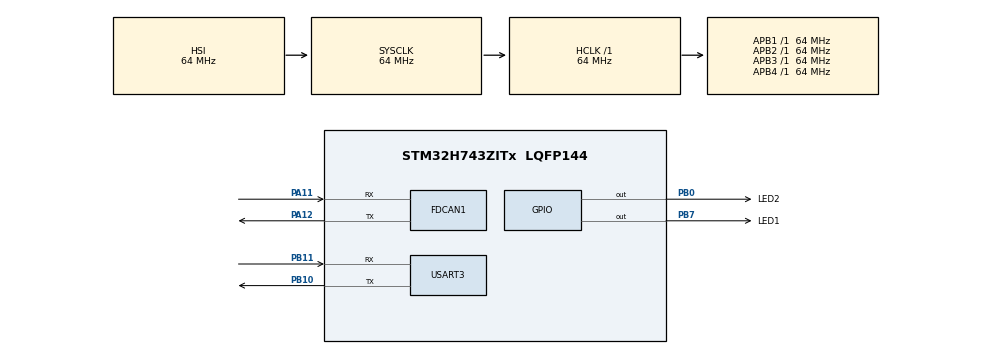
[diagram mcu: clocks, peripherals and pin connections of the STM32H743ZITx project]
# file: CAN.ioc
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Mcu.Family=STM32H7
Mcu.Name=STM32H743ZITx
Mcu.Package=LQFP144
NVIC.PriorityGroup=NVIC_PRIORITYGROUP_4
PA11.Mode=FDCANMaster
PA11.Signal=FDCAN1_RX
PA12.Mode=FDCANMaster
PA12.Signal=FDCAN1_TX
PB0.GPIO_Label=LED2
PB0.Signal=GPIO_Output
PB10.Mode=Asynchronous
PB10.Signal=USART3_TX
PB11.Mode=Asynchronous
PB11.Signal=USART3_RX
PB7.GPIO_Label=LED1
PB7.Signal=GPIO_Output
ProjectManager.HeapSize=0x200
ProjectManager.StackSize=0x400
ProjectManager.TargetToolchain=SW4STM32
RCC.ADCFreq_Value=129000000
RCC.APB1Freq_Value=64000000
RCC.APB2Freq_Value=64000000
RCC.APB3Freq_Value=64000000
RCC.APB4Freq_Value=64000000
RCC.CortexFreq_Value=64000000
RCC.HCLKFreq_Value=64000000
RCC.SYSCLKFreq_VALUE=64000000
RCC.USBFreq_Value=129000000
USART3.VirtualMode-Asynchronous=VM_ASYNC
board=custom

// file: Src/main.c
/**
  ******************************************************************************
  * @file           : main.c
  * @brief          : Main program body
  ******************************************************************************
  ** This notice applies to any and all portions of this file
  * that are not between comment pairs USER CODE BEGIN and
  * USER CODE END. Other portions of this file, whether
  * inserted by the user or by software development tools
  * are owned by their respective copyright owners.
  *
  * COPYRIGHT(c) 2018 STMicroelectronics
  *
  * Redistribution and use in source and binary forms, with or without modification,
  * are permitted provided that the following conditions are met:
  *   1. Redistributions of source code must retain the above copyright notice,
  *      this list of conditions and the following disclaimer.
  *   2. Redistributions in binary form must reproduce the above copyright notice,
  *      this list of conditions and the following disclaimer in the documentation
  *      and/or other materials provided with the distribution.
  *   3. Neither the name of STMicroelectronics nor the names of its contributors
  *      may be used to endorse or promote products derived from this software
  *      without specific prior written permission.
  *
  * THIS SOFTWARE IS PROVIDED BY THE COPYRIGHT HOLDERS AND CONTRIBUTORS "AS IS"
  * AND ANY EXPRESS OR IMPLIED WARRANTIES, INCLUDING, BUT NOT LIMITED TO, THE
  * IMPLIED WARRANTIES OF MERCHANTABILITY AND FITNESS FOR A PARTICULAR PURPOSE ARE
  * DISCLAIMED. IN NO EVENT SHALL THE COPYRIGHT HOLDER OR CONTRIBUTORS BE LIABLE
  * FOR ANY DIRECT, INDIRECT, INCIDENTAL, SPECIAL, EXEMPLARY, OR CONSEQUENTIAL
  * DAMAGES (INCLUDING, BUT NOT LIMITED TO, PROCUREMENT OF SUBSTITUTE GOODS OR
  * SERVICES; LOSS OF USE, DATA, OR PROFITS; OR BUSINESS INTERRUPTION) HOWEVER
  * CAUSED AND ON ANY THEORY OF LIABILITY, WHETHER IN CONTRACT, STRICT LIABILITY,
  * OR TORT (INCLUDING NEGLIGENCE OR OTHERWISE) ARISING IN ANY WAY OUT OF THE USE
  * OF THIS SOFTWARE, EVEN IF ADVISED OF THE POSSIBILITY OF SUCH DAMAGE.
  *
  ******************************************************************************
  */
#include "main.h"
#include "stm32h7xx_hal.h"
#include <stdlib.h>

FDCAN_HandleTypeDef hfdcan1;
UART_HandleTypeDef huart3;

/* USER CODE BEGIN PV */
/* Private variables ---------------------------------------------------------*/
FDCAN_RxHeaderTypeDef RxHeader;
uint8_t RxData[8];
FDCAN_TxHeaderTypeDef TxHeader;
uint8_t TxData[8] = "Trillium";
FDCAN_FilterTypeDef sFilterConfig;

/* USER CODE END PV */

void SystemClock_Config(void);
static void MX_GPIO_Init(void);
static void MX_FDCAN1_Init(void);
static void MX_USART3_UART_Init(void);

/* USER CODE BEGIN PFP */
/* Private function prototypes -----------------------------------------------*/

/* USER CODE END PFP */

int main(void)
{

  /* MCU Configuration----------------------------------------------------------*/

  /* Reset of all peripherals, Initializes the Flash interface and the Systick. */
  HAL_Init();

  /* Configure the system clock */
  SystemClock_Config();

  /* Initialize all configured peripherals */
  MX_GPIO_Init();
  MX_FDCAN1_Init();
  MX_USART3_UART_Init();

  /* USER CODE BEGIN 2 */

  /* Start the FDCAN module */
  if (HAL_FDCAN_Start(&hfdcan1) != HAL_OK) {
    /* Start Error */
    Error_Handler();
  }

  /* Prepare Tx Header */
  TxHeader.Identifier = 0x321;
  TxHeader.IdType = FDCAN_STANDARD_ID;
  TxHeader.TxFrameType = FDCAN_DATA_FRAME;
  TxHeader.DataLength = FDCAN_DLC_BYTES_8;
  TxHeader.ErrorStateIndicator = FDCAN_ESI_ACTIVE;
  TxHeader.BitRateSwitch = FDCAN_BRS_OFF;
  TxHeader.FDFormat = FDCAN_CLASSIC_CAN;
  TxHeader.TxEventFifoControl = FDCAN_NO_TX_EVENTS;
  TxHeader.MessageMarker = 0;

  /* Configure extended ID reception filter to Rx FIFO 1 */
  sFilterConfig.IdType = FDCAN_STANDARD_ID;
  sFilterConfig.FilterIndex = 0;
  sFilterConfig.FilterType = FDCAN_FILTER_DUAL; // or FDCAN_FILTER_RANGE_NO_EIDM
  sFilterConfig.FilterConfig = FDCAN_FILTER_TO_RXFIFO0;
  sFilterConfig.FilterID1 = 0x321;
  HAL_FDCAN_ConfigFilter(&hfdcan1, &sFilterConfig);

  /* USER CODE END 2 */

  /* Infinite loop */
  while (1)
  {

  /* USER CODE BEGIN 3 */
	  // If you cannot add a message to the FIFO Queue, blink LED 2
	  if (HAL_FDCAN_AddMessageToTxFifoQ(&hfdcan1, &TxHeader, TxData) != HAL_OK) {
		  HAL_GPIO_WritePin(LED2_GPIO_Port, LED2_Pin, GPIO_PIN_SET);
		  HAL_Delay(500);
		  HAL_GPIO_WritePin(LED2_GPIO_Port, LED2_Pin, GPIO_PIN_RESET);
	  }
	  HAL_Delay(50);
	  // If you cannot receive the message from the FIFO Queue, blink LED 1
	  while (HAL_FDCAN_GetRxMessage(&hfdcan1, FDCAN_RX_FIFO0, &RxHeader, RxData) != HAL_OK);
		  HAL_GPIO_WritePin(LED1_GPIO_Port, LED1_Pin, GPIO_PIN_SET);
		  HAL_Delay(500);
		  HAL_GPIO_WritePin(LED1_GPIO_Port, LED1_Pin, GPIO_PIN_RESET);
		  HAL_Delay(500);

	  //HAL_Delay(1000);
  }
  /* USER CODE END 3 */

}

void SystemClock_Config(void)
{

  RCC_OscInitTypeDef RCC_OscInitStruct;
  RCC_ClkInitTypeDef RCC_ClkInitStruct;
  RCC_PeriphCLKInitTypeDef PeriphClkInitStruct;

    /**Supply configuration update enable
    */
  MODIFY_REG(PWR->CR3, PWR_CR3_SCUEN, 0);

    /**Configure the main internal regulator output voltage
    */
  __HAL_PWR_VOLTAGESCALING_CONFIG(PWR_REGULATOR_VOLTAGE_SCALE3);

  while ((PWR->D3CR & (PWR_D3CR_VOSRDY)) != PWR_D3CR_VOSRDY)
  {

  }
    /**Initializes the CPU, AHB and APB busses clocks
    */
  RCC_OscInitStruct.OscillatorType = RCC_OSCILLATORTYPE_HSI;
  RCC_OscInitStruct.HSIState = RCC_HSI_DIV1;
  RCC_OscInitStruct.HSICalibrationValue = 16;
  RCC_OscInitStruct.PLL.PLLState = RCC_PLL_ON;
  RCC_OscInitStruct.PLL.PLLSource = RCC_PLLSOURCE_HSI;
  RCC_OscInitStruct.PLL.PLLM = 32;
  RCC_OscInitStruct.PLL.PLLN = 129;
  RCC_OscInitStruct.PLL.PLLP = 2;
  RCC_OscInitStruct.PLL.PLLQ = 2;
  RCC_OscInitStruct.PLL.PLLR = 2;
  RCC_OscInitStruct.PLL.PLLRGE = RCC_PLL1VCIRANGE_1;
  RCC_OscInitStruct.PLL.PLLVCOSEL = RCC_PLL1VCOWIDE;
  RCC_OscInitStruct.PLL.PLLFRACN = 0;
  if (HAL_RCC_OscConfig(&RCC_OscInitStruct) != HAL_OK)
  {
    _Error_Handler(__FILE__, __LINE__);
  }

    /**Initializes the CPU, AHB and APB busses clocks
    */
  RCC_ClkInitStruct.ClockType = RCC_CLOCKTYPE_HCLK|RCC_CLOCKTYPE_SYSCLK
                              |RCC_CLOCKTYPE_PCLK1|RCC_CLOCKTYPE_PCLK2
                              |RCC_CLOCKTYPE_D3PCLK1|RCC_CLOCKTYPE_D1PCLK1;
  RCC_ClkInitStruct.SYSCLKSource = RCC_SYSCLKSOURCE_HSI;
  RCC_ClkInitStruct.SYSCLKDivider = RCC_SYSCLK_DIV1;
  RCC_ClkInitStruct.AHBCLKDivider = RCC_HCLK_DIV1;
  RCC_ClkInitStruct.APB3CLKDivider = RCC_APB3_DIV1;
  RCC_ClkInitStruct.APB1CLKDivider = RCC_APB1_DIV1;
  RCC_ClkInitStruct.APB2CLKDivider = RCC_APB2_DIV1;
  RCC_ClkInitStruct.APB4CLKDivider = RCC_APB4_DIV1;

  if (HAL_RCC_ClockConfig(&RCC_ClkInitStruct, FLASH_LATENCY_0) != HAL_OK)
  {
    _Error_Handler(__FILE__, __LINE__);
  }

  PeriphClkInitStruct.PeriphClockSelection = RCC_PERIPHCLK_USART3|RCC_PERIPHCLK_FDCAN;
  PeriphClkInitStruct.FdcanClockSelection = RCC_FDCANCLKSOURCE_PLL;
  PeriphClkInitStruct.Usart234578ClockSelection = RCC_USART234578CLKSOURCE_D2PCLK1;
  if (HAL_RCCEx_PeriphCLKConfig(&PeriphClkInitStruct) != HAL_OK)
  {
    _Error_Handler(__FILE__, __LINE__);
  }

    /**Configure the Systick interrupt time
    */
  HAL_SYSTICK_Config(SystemCoreClock/1000);

    /**Configure the Systick
    */
  HAL_SYSTICK_CLKSourceConfig(SYSTICK_CLKSOURCE_HCLK);

  /* SysTick_IRQn interrupt configuration */
  HAL_NVIC_SetPriority(SysTick_IRQn, 0, 0);
}

/* FDCAN1 init function */
static void MX_FDCAN1_Init(void)
{
  hfdcan1.Instance = FDCAN1;
  hfdcan1.Init.FrameFormat = FDCAN_FRAME_CLASSIC;
  hfdcan1.Init.Mode = FDCAN_MODE_INTERNAL_LOOPBACK;
  hfdcan1.Init.AutoRetransmission = DISABLE;
  hfdcan1.Init.TransmitPause = DISABLE;
  hfdcan1.Init.ProtocolException = ENABLE;
  hfdcan1.Init.NominalPrescaler = 0x1;
  hfdcan1.Init.NominalSyncJumpWidth = 0x8;
  hfdcan1.Init.NominalTimeSeg1 = 0x1F;
  hfdcan1.Init.NominalTimeSeg2 = 0x8;
  hfdcan1.Init.MessageRAMOffset = 0;
  hfdcan1.Init.StdFiltersNbr = 1;
  hfdcan1.Init.ExtFiltersNbr = 0;
  hfdcan1.Init.RxFifo0ElmtsNbr = 1;
  hfdcan1.Init.RxFifo0ElmtSize = FDCAN_DATA_BYTES_8;
  hfdcan1.Init.RxFifo1ElmtsNbr = 0;
  hfdcan1.Init.RxBuffersNbr = 0;
  hfdcan1.Init.TxEventsNbr = 0;
  hfdcan1.Init.TxBuffersNbr = 0;
  hfdcan1.Init.TxFifoQueueElmtsNbr = 1;
  hfdcan1.Init.TxFifoQueueMode = FDCAN_TX_FIFO_OPERATION;
  hfdcan1.Init.TxElmtSize = FDCAN_DATA_BYTES_8;
  if (HAL_FDCAN_Init(&hfdcan1) != HAL_OK)
  {
    _Error_Handler(__FILE__, __LINE__);
  }
}

/* USART3 init function */
static void MX_USART3_UART_Init(void)
{

  huart3.Instance = USART3;
  huart3.Init.BaudRate = 115200;
  huart3.Init.WordLength = UART_WORDLENGTH_8B;
  huart3.Init.StopBits = UART_STOPBITS_1;
  huart3.Init.Parity = UART_PARITY_NONE;
  huart3.Init.Mode = UART_MODE_TX_RX;
  huart3.Init.HwFlowCtl = UART_HWCONTROL_NONE;
  huart3.Init.OverSampling = UART_OVERSAMPLING_16;
  huart3.Init.OneBitSampling = UART_ONE_BIT_SAMPLE_DISABLE;
  huart3.Init.Prescaler = UART_PRESCALER_DIV1;
  huart3.Init.FIFOMode = UART_FIFOMODE_DISABLE;
  huart3.Init.TXFIFOThreshold = UART_TXFIFO_THRESHOLD_1_8;
  huart3.Init.RXFIFOThreshold = UART_RXFIFO_THRESHOLD_1_8;
  huart3.AdvancedInit.AdvFeatureInit = UART_ADVFEATURE_NO_INIT;
  if (HAL_UART_Init(&huart3) != HAL_OK)
  {
    _Error_Handler(__FILE__, __LINE__);
  }

}

/** Configure pins as
        * Analog
        * Input
        * Output
        * EVENT_OUT
        * EXTI
*/
static void MX_GPIO_Init(void)
{

  GPIO_InitTypeDef GPIO_InitStruct;

  /* GPIO Ports Clock Enable */
  __HAL_RCC_GPIOB_CLK_ENABLE();
  __HAL_RCC_GPIOA_CLK_ENABLE();

  /*Configure GPIO pin Output Level */
  HAL_GPIO_WritePin(GPIOB, LED2_Pin|LED1_Pin, GPIO_PIN_RESET);

  /*Configure GPIO pins : LED2_Pin LED1_Pin */
  GPIO_InitStruct.Pin = LED2_Pin|LED1_Pin;
  GPIO_InitStruct.Mode = GPIO_MODE_OUTPUT_PP;
  GPIO_InitStruct.Pull = GPIO_NOPULL;
  GPIO_InitStruct.Speed = GPIO_SPEED_FREQ_LOW;
  HAL_GPIO_Init(GPIOB, &GPIO_InitStruct);

}

void _Error_Handler(char *file, int line)
{
  while(1)
  {
  }
}

/************************ (C) COPYRIGHT STMicroelectronics *****END OF FILE****/
